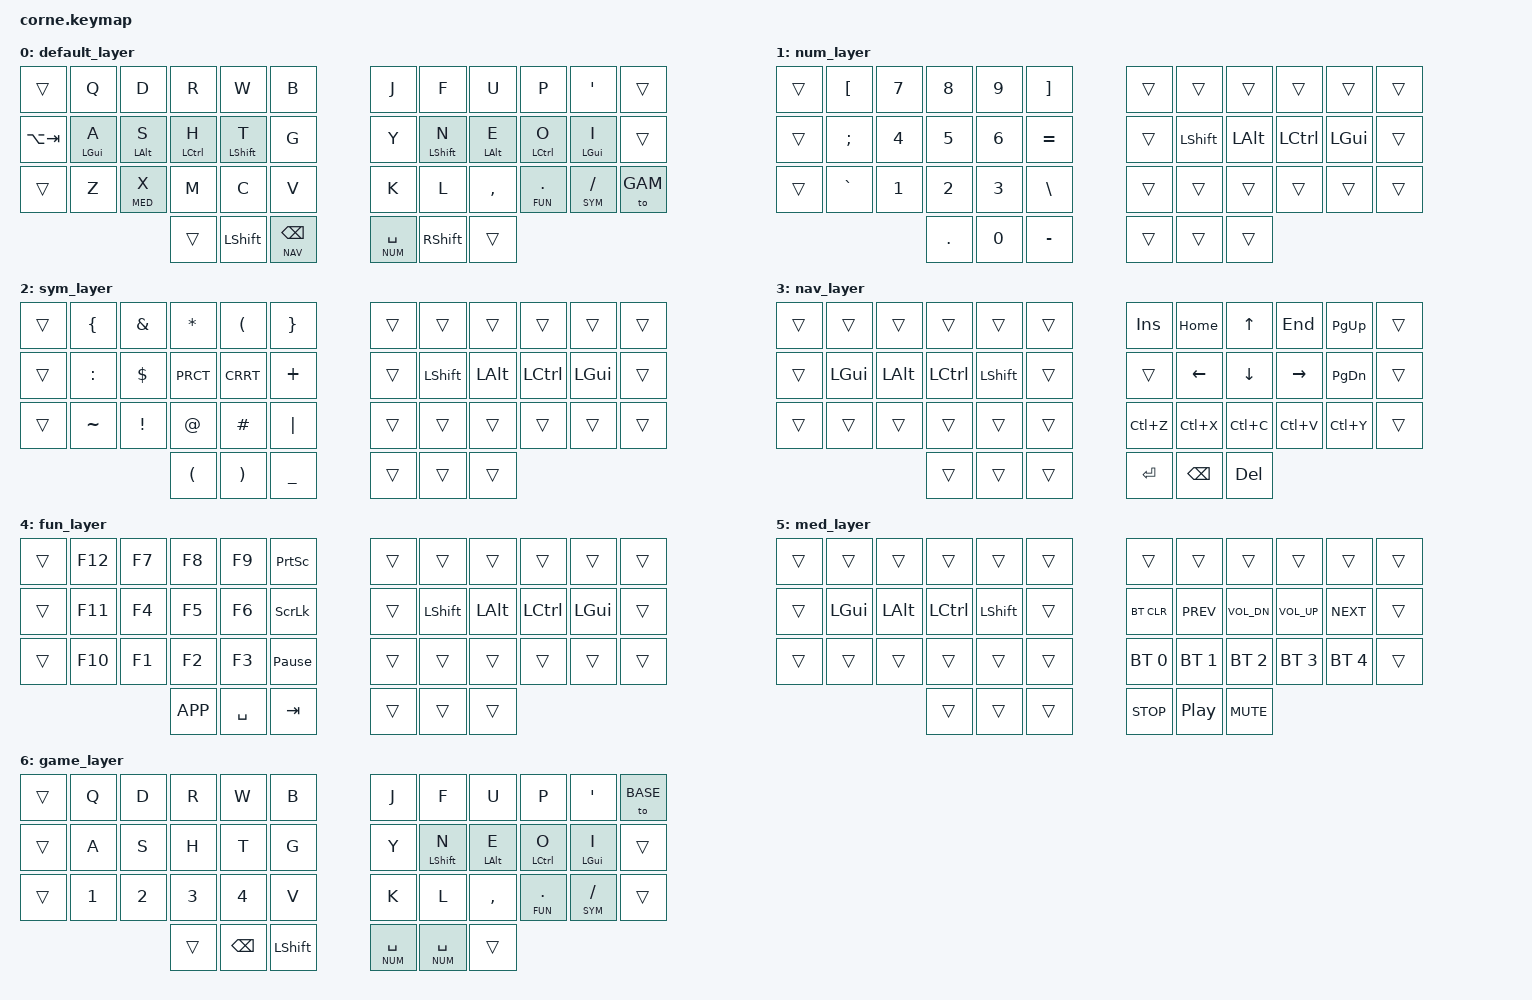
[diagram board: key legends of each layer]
/*
*
* Copyright (c) 2021 Darryl deHaan
* SPDX-License-Identifier: MIT
*
*/

#include <behaviors.dtsi>
#include <dt-bindings/zmk/keys.h>
#include <dt-bindings/zmk/bt.h>

#define BASE 0
#define NUM 1
#define SYM 2
#define NAV 3
#define FUN 4
#define MED 5
#define GAM 6

/ {
    combos {
        compatible = "zmk,combos";
        combo_esc {
            timeout-ms = <20>;
            key-positions = <13 14>;
            bindings = <&kp ESC>;
        };
        combo_tab {
            timeout-ms = <20>;
            key-positions = <14 15>;
            bindings = <&kp TAB>;
            layers = <0 1 2 3 4 5>;
        };
        combo_delete {
            timeout-ms = <10>;
            key-positions = <15 16>;
            bindings = <&kp DELETE>;
            layers = <0 1 2 3 4 5>;
        };
        combo_backspace {
            timeout-ms = <20>;
            key-positions = <19 20>;
            bindings = <&kp BSPC>;
        };
        combo_enter {
            timeout-ms = <20>;
            key-positions = <20 21>;
            bindings = <&kp RET>;
        };
        combo_scln {
            timeout-ms = <10>;
            key-positions = <21 22>;
            bindings = <&kp COLON>;
        };
        combo_lpar {
            timeout-ms = <20>;
            key-positions = <3 4>;
            bindings = <&kp LPAR>;
        };
        combo_rpar {
            timeout-ms = <20>;
            key-positions = <7 8>;
            bindings = <&kp RPAR>;
        };
        combo_lbkt {
            timeout-ms = <10>;
            key-positions = <7 8>;
            bindings = <&kp LBKT>;
        };
        combo_rbkt {
            timeout-ms = <10>;
            key-positions = <7 8>;
            bindings = <&kp RBKT>;
        };
        combo_minus {
            timeout-ms = <20>;
            key-positions = <2 3>;
            bindings = <&kp MINUS>;
        };
        combo_equal {
            timeout-ms = <20>;
            key-positions = <8 9>;
            bindings = <&kp EQUAL>;
        };

    };
};

/ {
    behaviors {
        hm: homerow_mods {
            compatible = "zmk,behavior-hold-tap";
            label = "HOMEROW_MODS";
            #binding-cells = <2>;
            tapping-term-ms = <250>;
            quick-tap-ms = <0>;
            flavor = "tap-preferred";
            bindings = <&kp>, <&kp>;
        };
        hs: homerow_shift {
            compatible = "zmk,behavior-hold-tap";
            label = "HOMEROW_SHIFT";
            #binding-cells = <2>;
            tapping-term-ms = <150>;
            quick-tap-ms = <0>;
            flavor = "tap-preferred";
            bindings = <&kp>, <&kp>;
        };
        
    };
};




/ {
        keymap {
                compatible = "zmk,keymap";
                default_layer {
                        
                        bindings = <
&trans &kp Q              &kp D              &kp R              &kp W              &kp B              &kp J              &kp F              &kp U              &kp P              &kp SQT         &trans    
&kp LA(TAB) &hm LGUI A    &hm LALT S        &hm LCTRL H         &hs LSHFT T        &kp G              &kp Y              &hs LSHFT N        &hm LALT E         &hm LCTRL O        &hm LGUI I      &trans     
&trans &kp Z              &lt MED X          &kp M              &kp C              &kp V              &kp K              &kp L              &kp COMMA          &lt FUN DOT        &lt SYM SLASH   &to GAM 
                                             &trans             &kp LSHFT     &lt  NAV BSPC      &lt  NUM SPC       &kp RSHFT        &trans
                        >;
                };
                num_layer {
                       
                        bindings = <
&trans &kp LBKT           &kp NUM_7          &kp NUM_8          &kp NUM_9          &kp RBKT           &trans                &trans             &trans             &trans             &trans        &trans 
&trans &kp SEMI           &kp NUM_4          &kp NUM_5          &kp NUM_6          &kp EQL            &trans                &kp LSHFT          &kp LALT           &kp LCTRL          &kp LGUI      &trans        
&trans &kp GRAVE          &kp NUM_1          &kp NUM_2          &kp NUM_3          &kp BSLH           &trans                &trans             &trans             &trans             &trans        &trans         
                                      &kp DOT            &kp NUM_0          &kp MINUS          &trans                &trans             &trans  
                        >;
                };

                sym_layer {
                        
                        bindings = <
&trans &kp LBRC           &kp AMPS           &kp ASTRK          &kp LPAR           &kp RBRC           &trans                &trans             &trans             &trans             &trans       &trans   
&trans &kp COLON          &kp DLLR           &kp PRCT           &kp CRRT           &kp PLUS           &trans                &kp LSHFT          &kp LALT           &kp LCTRL          &kp LGUI      &trans   
&trans &kp TILDE          &kp EXCL           &kp AT             &kp HASH           &kp PIPE           &trans                &trans             &trans             &trans             &trans       &trans   
                                      &kp LPAR           &kp RPAR           &kp UNDER          &trans                &trans             &trans                                          
                        >;
                };
                nav_layer {
                      
                        bindings = <
&trans &trans             &trans             &trans             &trans             &trans                &kp INS            &kp HOME           &kp UP             &kp END            &kp PG_UP    &trans       
&trans &kp LGUI           &kp LALT           &kp LCTRL          &kp LSHFT          &trans                &trans             &kp LEFT           &kp DOWN           &kp RIGHT          &kp PG_DN    &trans       
&trans &trans             &trans             &trans             &trans             &trans                &kp LC(Z)          &kp LC(X)          &kp LC(C)          &kp LC(V)          &kp LC(Y)    &trans            
                                      &trans             &trans             &trans                &kp RET            &kp BSPC           &kp DEL
                        >;
                };        
                fun_layer {
                      
                        bindings = <
&trans &kp F12            &kp F7             &kp F8             &kp F9             &kp PSCRN          &trans                &trans             &trans             &trans             &trans     &trans     
&trans &kp F11            &kp F4             &kp F5             &kp F6             &kp SLCK           &trans                &kp LSHFT          &kp LALT           &kp LCTRL          &kp LGUI    &trans     
&trans &kp F10            &kp F1             &kp F2             &kp F3             &kp PAUSE_BREAK    &trans                &trans             &trans             &trans             &trans     &trans     
                                      &kp K_APP          &kp SPC            &kp TAB            &trans                &trans             &trans                                          
                        >;
                };
                med_layer {
                        
                        bindings = <
&trans &trans             &trans             &trans             &trans             &trans                &trans             &trans             &trans             &trans             &trans	      &trans    
&trans &kp LGUI           &kp LALT           &kp LCTRL          &kp LSHFT          &trans                &bt BT_CLR         &kp C_PREV         &kp C_VOL_DN       &kp C_VOL_UP       &kp C_NEXT   &trans      
&trans &trans             &trans             &trans             &trans             &trans                &bt BT_SEL 0       &bt BT_SEL 1       &bt BT_SEL 2       &bt BT_SEL 3       &bt BT_SEL 4 &trans        
                                      &trans             &trans             &trans                &kp C_STOP         &kp C_PP           &kp C_MUTE                                         
                        >;
                };
                game_layer {
                        
                        bindings = <
&trans &kp Q              &kp D              &kp R              &kp W              &kp B              &kp J              &kp F              &kp U              &kp P              &kp SQT         &to BASE    
&trans &kp A              &kp S              &kp H              &kp T              &kp G              &kp Y              &hm LSHFT N        &hm LALT E         &hm LCTRL O        &hm LGUI I      &trans     
&trans &kp NUM_1          &kp NUM_2          &kp NUM_3          &kp NUM_4          &kp V              &kp K              &kp L              &kp COMMA          &lt FUN DOT        &lt SYM SLASH   &trans 
                                             &trans             &kp BSPC     &kp LSHFT      &lt  NUM SPC       &lt  NUM SPC        &trans
                        >;
                };
        
        };
};
